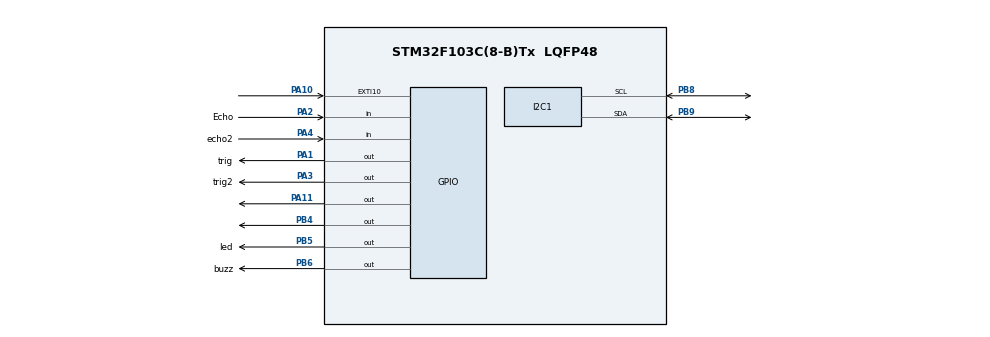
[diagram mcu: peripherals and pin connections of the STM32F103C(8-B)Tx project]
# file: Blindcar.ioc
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FREERTOS.Tasks01=defaultTask,0,128,StartDefaultTask,Default,NULL,Dynamic,NULL,NULL
FREERTOS.configTOTAL_HEAP_SIZE=10240
FREERTOS.configUSE_COUNTING_SEMAPHORES=1
FREERTOS.configUSE_RECURSIVE_MUTEXES=1
FREERTOS.configUSE_TIMERS=1
Mcu.Family=STM32F1
Mcu.Name=STM32F103C(8-B)Tx
Mcu.Package=LQFP48
NVIC.PriorityGroup=NVIC_PRIORITYGROUP_4
PA1.GPIO_Label=trig
PA1.Signal=GPIO_Output
PA10.Signal=GPXTI10
PA11.Signal=GPIO_Output
PA13.Mode=Serial_Wire
PA13.Signal=SYS_JTMS-SWDIO
PA14.Mode=Serial_Wire
PA14.Signal=SYS_JTCK-SWCLK
PA2.GPIO_Label=Echo
PA2.Signal=GPIO_Input
PA3.GPIO_Label=trig2
PA3.Signal=GPIO_Output
PA4.GPIO_Label=echo2
PA4.Signal=GPIO_Input
PB4.Signal=GPIO_Output
PB5.GPIO_Label=led
PB5.Signal=GPIO_Output
PB6.GPIO_Label=buzz
PB6.Signal=GPIO_Output
PB8.Mode=I2C
PB8.Signal=I2C1_SCL
PB9.Mode=I2C
PB9.Signal=I2C1_SDA
ProjectManager.HeapSize=0x200
ProjectManager.StackSize=0x400
ProjectManager.TargetToolchain=MDK-ARM V5.32
RCC.APB1Freq_Value=8000000
RCC.APB2Freq_Value=8000000
VP_FREERTOS_VS_CMSIS_V1.Mode=CMSIS_V1
board=custom

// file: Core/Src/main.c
/* USER CODE BEGIN Header */
/**
  ******************************************************************************
  * @file           : main.c
  * @brief          : Main program body
  ******************************************************************************
  * @attention
  *
  * Copyright (c) 2026 STMicroelectronics.
  * All rights reserved.
  *
  * This software is licensed under terms that can be found in the LICENSE file
  * in the root directory of this software component.
  * If no LICENSE file comes with this software, it is provided AS-IS.
  *
  ******************************************************************************
  */
/* USER CODE END Header */
#include "main.h"
#include "cmsis_os.h"

/* USER CODE BEGIN Includes */
#include <stdio.h>
#include <stdint.h>
#include <string.h>

#include "FreeRTOS.h"
#include "queue.h"
#include "semphr.h"
#include "task.h"
#include "timers.h"

#include "lcd_display.h"
#include "sensor_filter.h"
#include "system_config.h"
#include "system_state.h"
#include "thresholds.h"
/* USER CODE END Includes */

I2C_HandleTypeDef hi2c1;

UART_HandleTypeDef huart1;

osThreadId defaultTaskHandle;
/* USER CODE BEGIN PV */
// So tick CPU ung voi 1 micro giay (dung cho delay us)
static uint32_t cpu_ticks_per_us;

typedef struct
{
  GPIO_TypeDef *trig_port;
  uint16_t trig_pin;
  GPIO_TypeDef *echo_port;
  uint16_t echo_pin;
} sensor_pin_map_t;

typedef struct
{
  volatile uint32_t echo_start_us;
  volatile uint32_t echo_pulse_us;
  volatile uint8_t waiting_fall_edge;
  volatile uint8_t echo_ready;
  volatile uint8_t measurement_active;
} sensor_capture_t;

typedef struct
{
  system_state_t sensor1_state;
  system_state_t sensor2_state;
  system_state_t combined_state;
} state_snapshot_t;

typedef struct
{
  uint32_t last_valid_tick_ms;
  uint8_t timeout_streak;
} sensor_runtime_state_t;

static const sensor_pin_map_t sensor_pin_map[SENSOR_FILTER_INSTANCE_COUNT] = {
  {TRig_GPIO_Port, TRig_Pin, Echo_GPIO_Port, Echo_Pin},
  {trig2_GPIO_Port, trig2_Pin, echo2_GPIO_Port, echo2_Pin}
};
static sensor_capture_t sensor_capture[SENSOR_FILTER_INSTANCE_COUNT];

typedef struct
{
  uint8_t sensor;
  distance_data_t data;
} data_t;

static QueueHandle_t dataQueue;
static QueueHandle_t alertQueue;
#if (APP_LCD_ENABLED != 0)
static QueueHandle_t displayQueue;
#endif
static SemaphoreHandle_t echoSem[SENSOR_FILTER_INSTANCE_COUNT];
#if (APP_LCD_ENABLED != 0)
static SemaphoreHandle_t lcdMutex;
#endif
static SemaphoreHandle_t trigMutex;

static SemaphoreHandle_t sampleSem;
static TimerHandle_t sampleTimer;
/* 0: dang do Echo cam bien 1 (PA2); 1: dang do echo2 — loai bo xung nham tu cam con lai */
// Du lieu / trang thai theo tung cam bien
static distance_data_t distance1;
static distance_data_t distance2;
static system_state_t state1;
static system_state_t state2;
static system_state_t state;
static sensor_runtime_state_t sensor_runtime[SENSOR_FILTER_INSTANCE_COUNT];

/* Heuristic reject echo giả:
 * Khi sensor bị rút vẫn tạo pulse giả, giá trị distance thường dao động kiểu "bó hẹp".
 * Ta theo dõi độ thay đổi so với lần trước; nếu OK liên tục nhưng chỉ đổi rất ít trong nhiều mẫu
 * -> coi là FAULT (mất kết nối / echo giả).
 */
static float s_last_ok_distance[SENSOR_FILTER_INSTANCE_COUNT];
static uint8_t s_has_last_ok[SENSOR_FILTER_INSTANCE_COUNT];
static uint8_t s_stable_ok_count[SENSOR_FILTER_INSTANCE_COUNT];

#define ECHO_FAKE_DELTA_CM_THRESHOLD   (10.0f)
#define ECHO_FAKE_STABLE_OK_MIN_COUNT  (4U)

/* USER CODE END PV */

void SystemClock_Config(void);
static void MX_GPIO_Init(void);
static void MX_I2C1_Init(void);
static void MX_USART1_UART_Init(void);
void StartDefaultTask(void const * argument);

/* USER CODE BEGIN PFP */
static void sensor_reset_capture(uint8_t sensor_index);
static void sensor_fill_timeout(distance_data_t *distance_data, uint32_t timestamp_ms);
static void sensor_start_measurement(uint8_t sensor_index, uint32_t now_ms);
static void app_init_runtime_objects(void);
static void app_init_default_state(void);
static void vSensorTask(void *argument);
static void vProcessingTask(void *argument);
static void vAlertTask(void *argument);
#if (APP_LCD_ENABLED != 0)
static void vDisplayTask(void *argument);
#endif
static void taskMakeState(const distance_data_t *distance_data, system_state_t *system_state);
static void sample_timer_cb(TimerHandle_t timer);
/* USER CODE END PFP */

int main(void)
{

  /* MCU Configuration--------------------------------------------------------*/

  /* Reset of all peripherals, Initializes the Flash interface and the Systick. */
  HAL_Init();

  /* Configure the system clock */
  SystemClock_Config();

  /* Initialize all configured peripherals */
  MX_GPIO_Init();
  MX_I2C1_Init();
  /* USER CODE BEGIN 2 */
  /* Khoi tao cac module can dung truoc vong lap chinh */
  app_support_init();
  system_state_init();

  /* USER CODE END 2 */

  /* Create the thread(s) */
  /* definition and creation of defaultTask */
  osThreadDef(defaultTask, StartDefaultTask, osPriorityNormal, 0, 128);
  defaultTaskHandle = osThreadCreate(osThread(defaultTask), NULL);

  /* Start scheduler */
  osKernelStart();

  /* We should never get here as control is now taken by the scheduler */

  /* Infinite loop */

}

void SystemClock_Config(void)
{
  RCC_OscInitTypeDef RCC_OscInitStruct = {0};
  RCC_ClkInitTypeDef RCC_ClkInitStruct = {0};

  /** Initializes the RCC Oscillators according to the specified parameters
  * in the RCC_OscInitTypeDef structure.
  */
  RCC_OscInitStruct.OscillatorType = RCC_OSCILLATORTYPE_HSI;
  RCC_OscInitStruct.HSIState = RCC_HSI_ON;
  RCC_OscInitStruct.HSICalibrationValue = RCC_HSICALIBRATION_DEFAULT;
  RCC_OscInitStruct.PLL.PLLState = RCC_PLL_NONE;
  if (HAL_RCC_OscConfig(&RCC_OscInitStruct) != HAL_OK)
  {
    Error_Handler();
  }

  /** Initializes the CPU, AHB and APB buses clocks
  */
  RCC_ClkInitStruct.ClockType = RCC_CLOCKTYPE_HCLK|RCC_CLOCKTYPE_SYSCLK
                              |RCC_CLOCKTYPE_PCLK1|RCC_CLOCKTYPE_PCLK2;
  RCC_ClkInitStruct.SYSCLKSource = RCC_SYSCLKSOURCE_HSI;
  RCC_ClkInitStruct.AHBCLKDivider = RCC_SYSCLK_DIV1;
  RCC_ClkInitStruct.APB1CLKDivider = RCC_HCLK_DIV1;
  RCC_ClkInitStruct.APB2CLKDivider = RCC_HCLK_DIV1;

  if (HAL_RCC_ClockConfig(&RCC_ClkInitStruct, FLASH_LATENCY_0) != HAL_OK)
  {
    Error_Handler();
  }
}

static void MX_I2C1_Init(void)
{

  hi2c1.Instance = I2C1;
  hi2c1.Init.ClockSpeed = 100000;
  hi2c1.Init.DutyCycle = I2C_DUTYCYCLE_2;
  hi2c1.Init.OwnAddress1 = 0;
  hi2c1.Init.AddressingMode = I2C_ADDRESSINGMODE_7BIT;
  hi2c1.Init.DualAddressMode = I2C_DUALADDRESS_DISABLE;
  hi2c1.Init.OwnAddress2 = 0;
  hi2c1.Init.GeneralCallMode = I2C_GENERALCALL_DISABLE;
  hi2c1.Init.NoStretchMode = I2C_NOSTRETCH_DISABLE;
  if (HAL_I2C_Init(&hi2c1) != HAL_OK)
  {
    Error_Handler();
  }

}

static void MX_USART1_UART_Init(void)
{

  huart1.Instance = USART1;
  huart1.Init.BaudRate = 115200;
  huart1.Init.WordLength = UART_WORDLENGTH_8B;
  huart1.Init.StopBits = UART_STOPBITS_1;
  huart1.Init.Parity = UART_PARITY_NONE;
  huart1.Init.Mode = UART_MODE_TX_RX;
  huart1.Init.HwFlowCtl = UART_HWCONTROL_NONE;
  huart1.Init.OverSampling = UART_OVERSAMPLING_16;
  if (HAL_UART_Init(&huart1) != HAL_OK)
  {
    Error_Handler();
  }

}

static void MX_GPIO_Init(void)
{
  GPIO_InitTypeDef GPIO_InitStruct = {0};

  /* GPIO Ports Clock Enable */
  __HAL_RCC_GPIOA_CLK_ENABLE();
  __HAL_RCC_GPIOB_CLK_ENABLE();

  /*Configure GPIO pin Output Level */
  HAL_GPIO_WritePin(GPIOA, GPIO_PIN_1|GPIO_PIN_3, GPIO_PIN_RESET);

  /*Configure GPIO pin Output Level */
  HAL_GPIO_WritePin(GPIOB, GPIO_PIN_4|led_Pin|buzz_Pin, GPIO_PIN_RESET);

  /*Configure GPIO pins : PA1 PA3 */
  GPIO_InitStruct.Pin = GPIO_PIN_1|GPIO_PIN_3;
  GPIO_InitStruct.Mode = GPIO_MODE_OUTPUT_PP;
  GPIO_InitStruct.Pull = GPIO_NOPULL;
  GPIO_InitStruct.Speed = GPIO_SPEED_FREQ_LOW;
  HAL_GPIO_Init(GPIOA, &GPIO_InitStruct);

  /*Configure GPIO pins : Echo_Pin echo2_Pin */
  GPIO_InitStruct.Pin = Echo_Pin|echo2_Pin;
  GPIO_InitStruct.Mode = GPIO_MODE_INPUT;
  GPIO_InitStruct.Pull = GPIO_PULLDOWN;
  HAL_GPIO_Init(GPIOA, &GPIO_InitStruct);

  /*Configure GPIO pins : PB4 led_Pin buzz_Pin */
  GPIO_InitStruct.Pin = GPIO_PIN_4|led_Pin|buzz_Pin;
  GPIO_InitStruct.Mode = GPIO_MODE_OUTPUT_PP;
  GPIO_InitStruct.Pull = GPIO_NOPULL;
  GPIO_InitStruct.Speed = GPIO_SPEED_FREQ_LOW;
  HAL_GPIO_Init(GPIOB, &GPIO_InitStruct);

  /* USER CODE BEGIN MX_GPIO_Init_2 */
  /* CubeMX: Echo thuong la Input thuong — can EXTI (cang len/xuong) de do do rong xung.
   * Trig1/Trig2 da la Output trong MX_GPIO_Init phia tren (PA1, PA3).
   * Su dung PULLDOWN de tranh floating signal khi cam bien bi rut ra. */
  GPIO_InitStruct.Pin = Echo_Pin;
  GPIO_InitStruct.Mode = GPIO_MODE_IT_RISING_FALLING;
  GPIO_InitStruct.Pull = GPIO_PULLDOWN;
  GPIO_InitStruct.Speed = GPIO_SPEED_FREQ_LOW;
  HAL_GPIO_Init(Echo_GPIO_Port, &GPIO_InitStruct);

  GPIO_InitStruct.Pin = echo2_Pin;
  GPIO_InitStruct.Mode = GPIO_MODE_IT_RISING_FALLING;
  GPIO_InitStruct.Pull = GPIO_PULLDOWN;
  GPIO_InitStruct.Speed = GPIO_SPEED_FREQ_LOW;
  HAL_GPIO_Init(echo2_GPIO_Port, &GPIO_InitStruct);

  HAL_NVIC_SetPriority(EXTI2_IRQn, 6, 0);
  HAL_NVIC_EnableIRQ(EXTI2_IRQn);
  HAL_NVIC_SetPriority(EXTI4_IRQn, 6, 0);
  HAL_NVIC_EnableIRQ(EXTI4_IRQn);
  /* USER CODE END MX_GPIO_Init_2 */
}

/* USER CODE BEGIN 4 */
static void app_delay_counter_init(void)
{
  // Lay tan so HCLK de quy doi so tick ve micro giay
  cpu_ticks_per_us = HAL_RCC_GetHCLKFreq() / 1000000U;

  CoreDebug->DEMCR |= CoreDebug_DEMCR_TRCENA_Msk;
  DWT->CYCCNT = 0U;
  DWT->CTRL |= DWT_CTRL_CYCCNTENA_Msk;
}

static uint32_t app_get_microseconds(void)
{
  if (cpu_ticks_per_us == 0U)
  {
    app_delay_counter_init();
  }

  return (DWT->CYCCNT / cpu_ticks_per_us);
}

void app_support_init(void)
{
  uint8_t sensor_index;

  for (sensor_index = 0U; sensor_index < SENSOR_FILTER_INSTANCE_COUNT; sensor_index++)
  {
    sensor_reset_capture(sensor_index);
  }

  sensor_filter_reset_all();
  app_delay_counter_init();
  HAL_GPIO_WritePin(led_GPIO_Port, led_Pin, GPIO_PIN_RESET);
  HAL_GPIO_WritePin(led2_GPIO_Port, led2_Pin, GPIO_PIN_RESET);
  HAL_GPIO_WritePin(buzz_GPIO_Port, buzz_Pin, GPIO_PIN_RESET);
  HAL_GPIO_WritePin(TRig_GPIO_Port, TRig_Pin, GPIO_PIN_RESET);
  HAL_GPIO_WritePin(trig2_GPIO_Port, trig2_Pin, GPIO_PIN_RESET);
  (void)lcd_display_init();
}

void app_delay_us(uint32_t microseconds)
{
  uint32_t start_tick;
  uint32_t wait_tick;

  if (cpu_ticks_per_us == 0U)
  {
    app_delay_counter_init();
  }

  start_tick = DWT->CYCCNT;
  wait_tick = microseconds * cpu_ticks_per_us;

  while ((DWT->CYCCNT - start_tick) < wait_tick)
  {
  }
}

static void sensor_reset_capture(uint8_t sensor_index)
{
  if (sensor_index >= SENSOR_FILTER_INSTANCE_COUNT)
  {
    return;
  }

  sensor_capture[sensor_index].echo_start_us = 0U;
  sensor_capture[sensor_index].echo_pulse_us = 0U;
  sensor_capture[sensor_index].waiting_fall_edge = 0U;
  sensor_capture[sensor_index].echo_ready = 0U;
  sensor_capture[sensor_index].measurement_active = 0U;
}

static void sensor_fill_timeout(distance_data_t *distance_data, uint32_t timestamp_ms)
{
  if (distance_data == 0)
  {
    return;
  }

  distance_data->timestamp_ms = timestamp_ms;
  distance_data->distance_cm = 0.0f;
  distance_data->is_object_detected = 0U;
  distance_data->system_status = SYSTEM_STATUS_SENSOR_TIMEOUT;
}

static void sensor_start_measurement(uint8_t sensor_index, uint32_t now_ms)
{
  (void)now_ms;

  if (sensor_index >= SENSOR_FILTER_INSTANCE_COUNT)
  {
    return;
  }

  if ((trigMutex != NULL) && (xSemaphoreTake(trigMutex, pdMS_TO_TICKS(2U)) != pdPASS))
  {
    return;
  }

  sensor_capture[sensor_index].echo_pulse_us = 0U;
  sensor_capture[sensor_index].waiting_fall_edge = 0U;
  sensor_capture[sensor_index].echo_ready = 0U;
  sensor_capture[sensor_index].measurement_active = 1U;

  HAL_GPIO_WritePin(TRig_GPIO_Port, TRig_Pin, GPIO_PIN_RESET);
  HAL_GPIO_WritePin(trig2_GPIO_Port, trig2_Pin, GPIO_PIN_RESET);
  app_delay_us(2U);
  HAL_GPIO_WritePin(sensor_pin_map[sensor_index].trig_port,
                    sensor_pin_map[sensor_index].trig_pin,
                    GPIO_PIN_SET);
  app_delay_us(SENSOR_TRIGGER_PULSE_US);
  HAL_GPIO_WritePin(sensor_pin_map[sensor_index].trig_port,
                    sensor_pin_map[sensor_index].trig_pin,
                    GPIO_PIN_RESET);

  if (trigMutex != NULL)
  {
    xSemaphoreGive(trigMutex);
  }
}

bool taskReadDistanceSensor(uint8_t sensor_index, distance_data_t *distance_data)
{
  BaseType_t wait_result;
  sensor_capture_t *capture;

  if ((distance_data == 0) || (sensor_index >= SENSOR_FILTER_INSTANCE_COUNT))
  {
    return false;
  }

  capture = &sensor_capture[sensor_index];
  sensor_fill_timeout(distance_data, HAL_GetTick());

  if (echoSem[sensor_index] == NULL)
  {
    return false;
  }

  while (xSemaphoreTake(echoSem[sensor_index], 0U) == pdPASS)
  {
  }

  sensor_start_measurement(sensor_index, HAL_GetTick());

  if (capture->measurement_active == 0U)
  {
    distance_data->system_status = SYSTEM_STATUS_SENSOR_FAULT;
    distance_data->timestamp_ms = HAL_GetTick();
    return false;
  }

  wait_result =
      xSemaphoreTake(echoSem[sensor_index], pdMS_TO_TICKS(SENSOR_ECHO_TIMEOUT_MS));

  if (wait_result != pdPASS)
  {
    capture->measurement_active = 0U;
    capture->waiting_fall_edge = 0U;
    capture->echo_ready = 0U;

    /* Đảm bảo status không bị giữ giá trị cũ khi timeout */
    distance_data->system_status = SYSTEM_STATUS_SENSOR_TIMEOUT;
    distance_data->is_object_detected = 0U;
    distance_data->distance_cm = 0.0f;
    distance_data->timestamp_ms = HAL_GetTick();
    return false;
  }

  distance_data->timestamp_ms = HAL_GetTick();

  if ((capture->echo_ready == 0U) || (capture->echo_pulse_us == 0U))
  {
    distance_data->distance_cm = 0.0f;
    distance_data->is_object_detected = 0U;
    distance_data->system_status = SYSTEM_STATUS_SENSOR_FAULT;
    capture->waiting_fall_edge = 0U;
    capture->echo_ready = 0U;
    capture->measurement_active = 0U;
    return false;
  }

  distance_data->distance_cm = ((float)capture->echo_pulse_us / 58.0f);
  distance_data->is_object_detected = (uint8_t)(distance_data->distance_cm > 0.0f);

  /* Lọc nhiễu/echo giả:
   * Nếu khoảng cách suy ra quá nhỏ (gần như 0) hoặc vượt quá giới hạn cảm nhận => coi là fault.
   * Mục tiêu: khi rút sensor2 mà chân echo bị nhiễu/float, LCD không còn hiển thị SAFE/WARN/DANG cho S2.
   */
  if ((distance_data->distance_cm < (SENSOR_MIN_VALID_CM * 0.5f)) ||
      (distance_data->distance_cm > SENSOR_MAX_VALID_CM))
  {
    distance_data->distance_cm = 0.0f;
    distance_data->is_object_detected = 0U;
    distance_data->system_status = SYSTEM_STATUS_SENSOR_FAULT;
  }
  else
  {
    distance_data->system_status = SYSTEM_STATUS_OK;
  }

  capture->waiting_fall_edge = 0U;
  capture->echo_ready = 0U;
  capture->measurement_active = 0U;
  return true;
}

warning_level_t taskPickWarningLevel(float distance_cm, system_status_t system_status)
{
  if (system_status == SYSTEM_STATUS_SENSOR_BELOW_MIN)
  {
    return WARNING_LEVEL_DANGER;
  }

  /* Cac loi khac: khong tin vao khoang cach, canh bao qua taskUpdateAlert */
  if (system_status != SYSTEM_STATUS_OK)
  {
    return WARNING_LEVEL_SAFE;
  }

  if (distance_cm < WARNING_DISTANCE_THRESHOLD_CM)
  {
    return WARNING_LEVEL_DANGER;
  }

  if (distance_cm <= SAFE_DISTANCE_THRESHOLD_CM)
  {
    return WARNING_LEVEL_WARNING;
  }

  return WARNING_LEVEL_SAFE;
}

static uint8_t compute_led_for_sensor(const system_state_t *st, uint32_t tick_ms)
{
  if (st == 0)
  {
    return 0U;
  }

  if (st->system_status == SYSTEM_STATUS_SENSOR_BELOW_MIN)
  {
    return 1U;
  }

  if (st->system_status != SYSTEM_STATUS_OK)
  {
    return (uint8_t)(((tick_ms / ALERT_ERROR_BLINK_MS) % 2U) != 0U);
  }

  if (st->warning_level == WARNING_LEVEL_DANGER)
  {
    return 1U;
  }

  if (st->warning_level == WARNING_LEVEL_WARNING)
  {
    return (uint8_t)(((tick_ms / ALERT_WARNING_BLINK_MS) % 2U) != 0U);
  }

  return 0U;
}

static void compute_buzzer_from_combined(const system_state_t *combined,
                                         uint32_t tick_ms,
                                         uint8_t *out_buzzer_on)
{
  uint32_t pattern_tick_ms;

  if ((combined == 0) || (out_buzzer_on == 0))
  {
    return;
  }

  if (combined->system_status == SYSTEM_STATUS_SENSOR_BELOW_MIN)
  {
    *out_buzzer_on = 1U;
    return;
  }

  if (combined->system_status != SYSTEM_STATUS_OK)
  {
    *out_buzzer_on = (uint8_t)(((tick_ms / ALERT_ERROR_BLINK_MS) % 2U) != 0U);
    return;
  }

  if (combined->warning_level == WARNING_LEVEL_DANGER)
  {
    *out_buzzer_on = 1U;
    return;
  }

  if (combined->warning_level == WARNING_LEVEL_WARNING)
  {
    pattern_tick_ms = tick_ms % ALERT_WARNING_BEEP_PERIOD_MS;
    *out_buzzer_on = (uint8_t)(pattern_tick_ms < ALERT_WARNING_BEEP_WINDOW_MS);
    return;
  }

  *out_buzzer_on = 0U;
}

void taskUpdateAlert(const system_state_t *combined_state,
                     const system_state_t *sensor1_state,
                     const system_state_t *sensor2_state)
{
  uint32_t tick_ms = HAL_GetTick();
  uint8_t buzz_on = 0U;

  if ((combined_state == 0) || (sensor1_state == 0) || (sensor2_state == 0))
  {
    return;
  }

  compute_buzzer_from_combined(combined_state, tick_ms, &buzz_on);

  HAL_GPIO_WritePin(led_GPIO_Port,
                    led_Pin,
                    compute_led_for_sensor(sensor1_state, tick_ms) ? GPIO_PIN_SET : GPIO_PIN_RESET);
  HAL_GPIO_WritePin(led2_GPIO_Port,
                    led2_Pin,
                    compute_led_for_sensor(sensor2_state, tick_ms) ? GPIO_PIN_SET : GPIO_PIN_RESET);
  HAL_GPIO_WritePin(buzz_GPIO_Port, buzz_Pin, buzz_on ? GPIO_PIN_SET : GPIO_PIN_RESET);
}

void taskUpdateDisplay(const system_state_t *sensor1_state,
                       const system_state_t *sensor2_state)
{
#if (APP_LCD_ENABLED != 0)
  if ((sensor1_state == 0) || (sensor2_state == 0))
  {
    return;
  }

  if (lcdMutex != NULL)
  {
    if (xSemaphoreTake(lcdMutex, pdMS_TO_TICKS(10U)) != pdPASS)
    {
      return;
    }
  }

  /* Disconnect robust theo thời gian:
   * Nếu state của sensor không được cập nhật trong quá lâu -> ép về TIMEOUT
   * để LCD không còn hiển thị "OK/Safe" hoặc nhảy số khi sensor bị rút.
   */
  system_state_t s1 = *sensor1_state;
  system_state_t s2 = *sensor2_state;
  const uint32_t now_ms = HAL_GetTick();

  if ((now_ms - s1.timestamp_ms) > SENSOR_TIMEOUT_HOLD_MS)
  {
    s1.timestamp_ms = now_ms;
    s1.system_status = SYSTEM_STATUS_SENSOR_TIMEOUT;
    s1.distance_cm = 0.0f;
    s1.is_object_detected = 0U;
    /* warning_level sẽ được lcd_display_format_sensor_bottom xử lý từ system_status */
  }

  if ((now_ms - s2.timestamp_ms) > SENSOR_TIMEOUT_HOLD_MS)
  {
    s2.timestamp_ms = now_ms;
    s2.system_status = SYSTEM_STATUS_SENSOR_TIMEOUT;
    s2.distance_cm = 0.0f;
    s2.is_object_detected = 0U;
  }

  // Hien thi tach rieng S1/S2 de de debug cam bien
  lcd_display_show_state(&s1, &s2);

  if (lcdMutex != NULL)
  {
    xSemaphoreGive(lcdMutex);
  }
#else
  (void)sensor1_state;
  (void)sensor2_state;
#endif
}

void taskHandleEchoEdgeIsr(uint16_t gpio_pin)
{
  uint32_t now_us;
  uint8_t sensor_index;
  sensor_capture_t *capture;
  BaseType_t higher_priority_woken;

  if (gpio_pin == Echo_Pin)
  {
    sensor_index = 0U;
  }
  else if (gpio_pin == echo2_Pin)
  {
    sensor_index = 1U;
  }
  else
  {
    return;
  }

  if (sensor_index >= SENSOR_FILTER_INSTANCE_COUNT)
  {
    return;
  }

  capture = &sensor_capture[sensor_index];

  if (capture->measurement_active == 0U)
  {
    return;
  }

  now_us = app_get_microseconds();

  if (HAL_GPIO_ReadPin(sensor_pin_map[sensor_index].echo_port,
                       sensor_pin_map[sensor_index].echo_pin) == GPIO_PIN_SET)
  {
    capture->echo_start_us = now_us;
    capture->waiting_fall_edge = 1U;
  }
  else if (capture->waiting_fall_edge != 0U)
  {
    higher_priority_woken = pdFALSE;

    capture->echo_pulse_us = now_us - capture->echo_start_us;
    capture->waiting_fall_edge = 0U;
    capture->echo_ready = 1U;

    if (echoSem[sensor_index] != NULL)
    {
      xSemaphoreGiveFromISR(echoSem[sensor_index], &higher_priority_woken);
      portYIELD_FROM_ISR(higher_priority_woken);
    }
  }
}

static void sample_timer_cb(TimerHandle_t timer)
{
  (void)timer;

  if (sampleSem != NULL)
  {
    (void)xSemaphoreGive(sampleSem);
  }
}

void HAL_GPIO_EXTI_Callback(uint16_t gpio_pin)
{
  taskHandleEchoEdgeIsr(gpio_pin);
}

static warning_level_t worst_warning_level(warning_level_t a, warning_level_t b)
{
  if ((a == WARNING_LEVEL_DANGER) || (b == WARNING_LEVEL_DANGER))
  {
    return WARNING_LEVEL_DANGER;
  }

  if ((a == WARNING_LEVEL_WARNING) || (b == WARNING_LEVEL_WARNING))
  {
    return WARNING_LEVEL_WARNING;
  }

  return WARNING_LEVEL_SAFE;
}

static uint8_t system_status_priority(system_status_t s)
{
  switch (s)
  {
    case SYSTEM_STATUS_SENSOR_BELOW_MIN:
      return 5U;

    case SYSTEM_STATUS_SENSOR_TIMEOUT:
      return 4U;

    case SYSTEM_STATUS_SENSOR_FAULT:
    case SYSTEM_STATUS_UART_ERROR:
      return 3U;

    default:
      return 0U;
  }
}

static system_status_t worst_system_status(system_status_t a, system_status_t b)
{
  if (system_status_priority(a) >= system_status_priority(b))
  {
    return a;
  }

  return b;
}

static void dual_state_combine(const system_state_t *s1,
                               const system_state_t *s2,
                               system_state_t *out)
{
  out->timestamp_ms = s1->timestamp_ms;

  if (s2->timestamp_ms > out->timestamp_ms)
  {
    out->timestamp_ms = s2->timestamp_ms;
  }

  out->system_status = worst_system_status(s1->system_status, s2->system_status);
  out->warning_level = worst_warning_level(s1->warning_level, s2->warning_level);

  if ((s1->system_status == SYSTEM_STATUS_OK) && (s2->system_status == SYSTEM_STATUS_OK))
  {
    out->distance_cm = (s1->distance_cm < s2->distance_cm) ? s1->distance_cm : s2->distance_cm;
  }
  else if (s1->system_status == SYSTEM_STATUS_OK)
  {
    out->distance_cm = s1->distance_cm;
  }
  else if (s2->system_status == SYSTEM_STATUS_OK)
  {
    out->distance_cm = s2->distance_cm;
  }
  else
  {
    out->distance_cm = 0.0f;
  }

  out->is_object_detected =
      (uint8_t)((s1->is_object_detected != 0U) || (s2->is_object_detected != 0U));
}

static void taskMakeState(const distance_data_t *distance_data,
                          system_state_t *system_state)
{
  if ((distance_data == 0) || (system_state == 0))
  {
    return;
  }

  // Copy du lieu goc tu task doc cam bien
  system_state->timestamp_ms = distance_data->timestamp_ms;
  system_state->distance_cm = distance_data->distance_cm;
  system_state->system_status = distance_data->system_status;
  system_state->is_object_detected = distance_data->is_object_detected;

  if ((system_state->system_status == SYSTEM_STATUS_OK) &&
      (system_state->distance_cm < SENSOR_MIN_VALID_CM))
  {
    system_state->system_status = SYSTEM_STATUS_SENSOR_BELOW_MIN;
    system_state->distance_cm = SENSOR_MIN_VALID_CM;
    system_state->is_object_detected = 1U;
  }

  if (system_state->system_status == SYSTEM_STATUS_SENSOR_BELOW_MIN)
  {
    system_state->warning_level = taskPickWarningLevel(system_state->distance_cm,
                                                       system_state->system_status);
    return;
  }

  if (system_state->system_status != SYSTEM_STATUS_OK)
  {
    system_state->distance_cm = 0.0f;
    system_state->is_object_detected = 0U;
    system_state->warning_level = taskPickWarningLevel(system_state->distance_cm,
                                                       system_state->system_status);
    return;
  }

  /* Chuan hoa lai du lieu de tranh gia tri loi */
  if (system_state->distance_cm > SENSOR_MAX_VALID_CM)
  {
    system_state->system_status = SYSTEM_STATUS_SENSOR_FAULT;
    system_state->distance_cm = 0.0f;
    system_state->is_object_detected = 0U;
  }

  system_state->warning_level = taskPickWarningLevel(system_state->distance_cm,
                                                     system_state->system_status);
}

static void app_init_runtime_objects(void)
{
  uint8_t sensor_index;

  if (dataQueue == NULL)
  {
    dataQueue = xQueueCreate(12U, sizeof(data_t));
  }

  if (alertQueue == NULL)
  {
    alertQueue = xQueueCreate(1U, sizeof(state_snapshot_t));
  }

#if (APP_LCD_ENABLED != 0)
  if (displayQueue == NULL)
  {
    displayQueue = xQueueCreate(1U, sizeof(state_snapshot_t));
  }
#endif

#if (APP_LCD_ENABLED != 0)
  if (lcdMutex == NULL)
  {
    lcdMutex = xSemaphoreCreateMutex();
  }
#endif

  if (trigMutex == NULL)
  {
    trigMutex = xSemaphoreCreateMutex();
  }

  for (sensor_index = 0U; sensor_index < SENSOR_FILTER_INSTANCE_COUNT; sensor_index++)
  {
    if (echoSem[sensor_index] == NULL)
    {
      echoSem[sensor_index] = xSemaphoreCreateBinary();
    }
  }

  if (sampleSem == NULL)
  {
    sampleSem = xSemaphoreCreateBinary();
  }

  if (sampleTimer == NULL)
  {
    sampleTimer = xTimerCreate("sample_timer",
                               pdMS_TO_TICKS(SENSOR_SAMPLE_PERIOD_MS),
                               pdTRUE,
                               NULL,
                               sample_timer_cb);
    if (sampleTimer != NULL)
    {
      (void)xTimerStart(sampleTimer, 0U);
    }
  }
}

static void app_init_default_state(void)
{
  uint8_t sensor_index;

  distance1.timestamp_ms = HAL_GetTick();
  distance1.distance_cm = 0.0f;
  distance1.is_object_detected = 0U;
  distance1.system_status = SYSTEM_STATUS_SENSOR_TIMEOUT;
  distance2 = distance1;

  taskMakeState(&distance1, &state1);
  taskMakeState(&distance2, &state2);
  dual_state_combine(&state1, &state2, &state);
  system_state_update(&state);

  for (sensor_index = 0U; sensor_index < SENSOR_FILTER_INSTANCE_COUNT; sensor_index++)
  {
    sensor_runtime[sensor_index].last_valid_tick_ms = 0U;
    sensor_runtime[sensor_index].timeout_streak = 0U;
  }
}

static void vSensorTask(void *argument)
{
  data_t data;
  TickType_t gap_ticks = pdMS_TO_TICKS(SENSOR_INTER_SAMPLE_GAP_MS);

  (void)argument;

  if ((dataQueue == NULL) || (sampleSem == NULL))
  {
    vTaskDelete(NULL);
    return;
  }

  vTaskDelay(pdMS_TO_TICKS(SENSOR_STARTUP_DELAY_MS));

  for (;;)
  {
    (void)xSemaphoreTake(sampleSem, portMAX_DELAY);

    // Do cam bien 1 -> nghi -> do cam bien 2 (tranh nhiễu chéo)
    data.sensor = 0U;
    (void)taskReadDistanceSensor(0U, &data.data);
    (void)xQueueSendToBack(dataQueue, &data, pdMS_TO_TICKS(5U));

    vTaskDelay(gap_ticks);

    data.sensor = 1U;
    (void)taskReadDistanceSensor(1U, &data.data);
    (void)xQueueSendToBack(dataQueue, &data, pdMS_TO_TICKS(5U));
  }
}

static void vProcessingTask(void *argument)
{
  data_t data;
  state_snapshot_t snapshot;
  distance_data_t normalized_data;
  sensor_runtime_state_t *runtime;
  distance_data_t *target_distance;
  system_state_t *target_state;

  (void)argument;

  if ((dataQueue == NULL) || (alertQueue == NULL))
  {
    vTaskDelete(NULL);
    return;
  }

  app_init_default_state();

  for (;;)
  {
    if (xQueueReceive(dataQueue, &data, portMAX_DELAY) != pdPASS)
    {
      continue;
    }

    if (data.sensor >= SENSOR_FILTER_INSTANCE_COUNT)
    {
      continue;
    }

    normalized_data = data.data;
    runtime = &sensor_runtime[data.sensor];

    if (data.sensor == 0U)
    {
      target_distance = &distance1;
      target_state = &state1;
    }
    else
    {
      target_distance = &distance2;
      target_state = &state2;
    }

    if (normalized_data.system_status == SYSTEM_STATUS_OK)
    {
      sensor_filter_commit(data.sensor, &normalized_data);

      if ((normalized_data.system_status == SYSTEM_STATUS_OK) ||
          (normalized_data.system_status == SYSTEM_STATUS_SENSOR_BELOW_MIN))
      {
        runtime->last_valid_tick_ms = normalized_data.timestamp_ms;
        runtime->timeout_streak = 0U;
      }
    }
    else if (normalized_data.system_status == SYSTEM_STATUS_SENSOR_TIMEOUT)
    {
      runtime->timeout_streak++;
      normalized_data.distance_cm = 0.0f;
      normalized_data.is_object_detected = 0U;
      normalized_data.system_status = SYSTEM_STATUS_SENSOR_TIMEOUT;
    }
    else
    {
      runtime->timeout_streak = 0U;
    }

    *target_distance = normalized_data;
    taskMakeState(target_distance, target_state);

    dual_state_combine(&state1, &state2, &state);
    system_state_update(&state);

    snapshot.sensor1_state = state1;
    snapshot.sensor2_state = state2;
    snapshot.combined_state = state;

    (void)xQueueOverwrite(alertQueue, &snapshot);
#if (APP_LCD_ENABLED != 0)
    if (displayQueue != NULL)
    {
      (void)xQueueOverwrite(displayQueue, &snapshot);
    }
#endif
  }
}

static void vAlertTask(void *argument)
{
  state_snapshot_t snapshot;

  (void)argument;

  snapshot.sensor1_state = state1;
  snapshot.sensor2_state = state2;
  snapshot.combined_state = state;

  for (;;)
  {
    if (alertQueue != NULL)
    {
      (void)xQueueReceive(alertQueue, &snapshot, pdMS_TO_TICKS(5U));
    }

    taskUpdateAlert(&snapshot.combined_state, &snapshot.sensor1_state, &snapshot.sensor2_state);
    vTaskDelay(pdMS_TO_TICKS(5U));
  }
}

#if (APP_LCD_ENABLED != 0)
static void vDisplayTask(void *argument)
{
  state_snapshot_t snapshot;

  (void)argument;

  if (displayQueue == NULL)
  {
    vTaskDelete(NULL);
    return;
  }

  snapshot.sensor1_state = state1;
  snapshot.sensor2_state = state2;
  snapshot.combined_state = state;

  for (;;)
  {
    taskUpdateDisplay(&state1, &state2);
    vTaskDelay(pdMS_TO_TICKS(300U));
  }
}
#endif

/* USER CODE END 4 */

void StartDefaultTask(void const * argument)
{
  BaseType_t create_result;

  /* USER CODE BEGIN 5 */
  (void)argument;
  app_init_runtime_objects();
  app_init_default_state();

  if ((dataQueue == NULL) || (alertQueue == NULL) ||
      (echoSem[0U] == NULL) || (echoSem[1U] == NULL) ||
      (trigMutex == NULL) || (sampleSem == NULL) || (sampleTimer == NULL))
  {
    Error_Handler();
  }

  create_result = xTaskCreate(vSensorTask,
															"sensor_task",
                              SENSOR_TASK_STACK_SIZE,
                              NULL,
                              SENSOR_TASK_PRIORITY,
                              NULL);
  if (create_result != pdPASS)
  {
    Error_Handler();
  }

  create_result = xTaskCreate(vProcessingTask,
                              "processing_task",
                              PROCESSING_TASK_STACK_SIZE,
                              NULL,
                              PROCESSING_TASK_PRIORITY,
                              NULL);
  if (create_result != pdPASS)
  {
    Error_Handler();
  }

  create_result = xTaskCreate(vAlertTask,
                              "alert_task",
                              ALERT_TASK_STACK_SIZE,
                              NULL,
                              ALERT_TASK_PRIORITY,
                              NULL);
  if (create_result != pdPASS)
  {
    Error_Handler();
  }

#if (APP_LCD_ENABLED != 0)
  create_result = xTaskCreate(vDisplayTask,
                              "display_task",
                              DISPLAY_TASK_STACK_SIZE,
                              NULL,
                              DISPLAY_TASK_PRIORITY,
                              NULL);
  if (create_result != pdPASS)
  {
    Error_Handler();
  }
#endif

  vTaskDelete(NULL);
  /* USER CODE END 5 */
}

void Error_Handler(void)
{
  __disable_irq();
  while (1)
  {
  }
}
